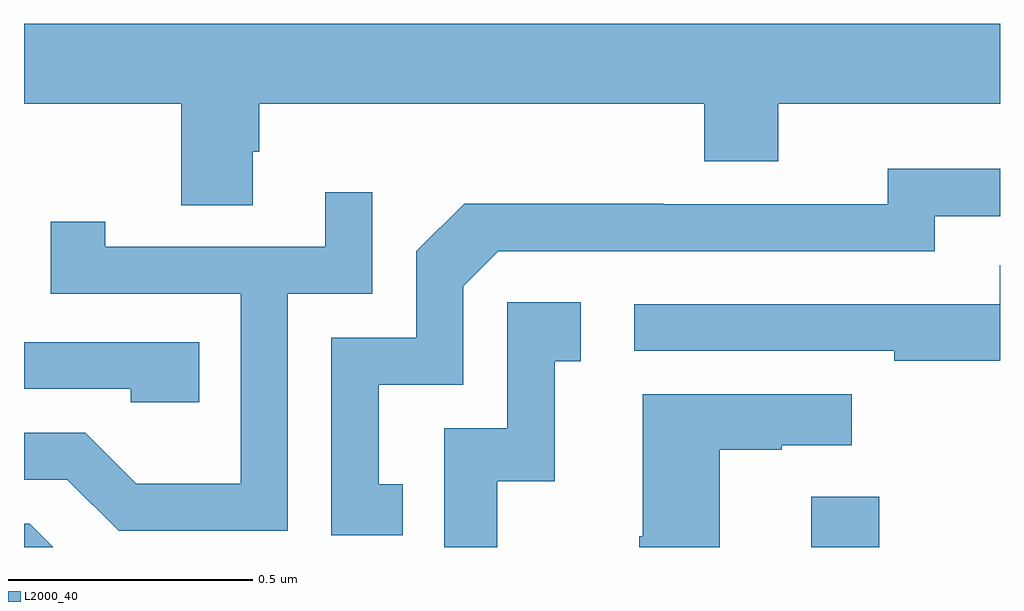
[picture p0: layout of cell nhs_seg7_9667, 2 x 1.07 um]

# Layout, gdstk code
import gdstk
lib = gdstk.Library(unit=1e-6, precision=1e-09)
def R(c, l, rs):  # rectangles x0, y0, x1, y1
    for r in rs: c.add(gdstk.rectangle(r[:2], r[2:], *l))
def P(c, l, *ps):  # polygons
    for p in ps: c.add(gdstk.Polygon(p, *l))
L2000_40 = (2000, 40)

nhs_seg7_9667 = lib.new_cell('nhs_seg7_9667')
R(nhs_seg7_9667, L2000_40, [(241.613,1041,241.753,1041.103)])
P(nhs_seg7_9667, L2000_40, [(240.469,1041.81),(240.482,1041.81),(240.482,1041.908),(241.394,1041.908),(241.394,1041.791),(241.546,1041.791),(241.546,1041.908),(242,1041.908),(242,1042.072),(240,1042.072),(240,1041.908),(240.322,1041.908),(240.322,1041.7),(240.469,1041.7)],
  [(240.776,1041.129),(240.727,1041.129),(240.727,1041.333),(240.9,1041.333),(240.9,1041.534),(240.972,1041.606),(241.866,1041.606),(241.866,1041.678),(242,1041.678),(242,1041.775),(241.77,1041.775),(241.77,1041.702),(241.31,1041.702),(241.31,1041.704),(240.902,1041.704),(240.804,1041.606),(240.804,1041.429),(240.63,1041.429),(240.63,1041.024),(240.776,1041.024)],
  [(240.54,1041.519),(240.714,1041.519),(240.714,1041.727),(240.617,1041.727),(240.617,1041.615),(240.166,1041.615),(240.166,1041.667),(240.055,1041.667),(240.055,1041.519),(240.444,1041.519),(240.444,1041.13),(240.23,1041.13),(240.126,1041.234),(240,1041.234),(240,1041.138),(240.089,1041.138),(240.194,1041.033),(240.54,1041.033)],
  [(242,1041.577),(241.999,1041.577),(241.999,1041.498),(241.251,1041.498),(241.251,1041.402),(241.783,1041.402),(241.783,1041.382),(242,1041.382)],
  [(240.97,1041.135),(241.088,1041.135),(241.088,1041.381),(241.141,1041.381),(241.141,1041.502),(240.99,1041.502),(240.99,1041.243),(240.861,1041.243),(240.861,1041),(240.97,1041)],
  [(240.359,1041.42),(240,1041.42),(240,1041.324),(240.219,1041.324),(240.219,1041.297),(240.359,1041.297)],
  [(241.426,1041.199),(241.553,1041.199),(241.553,1041.209),(241.696,1041.209),(241.696,1041.313),(241.268,1041.313),(241.268,1041.022),(241.261,1041.022),(241.261,1041),(241.426,1041)],
  [(240.012,1041.048),(240,1041.048),(240,1041),(240.06,1041)])

lib.write_gds('nhs_seg7_9667.gds')
